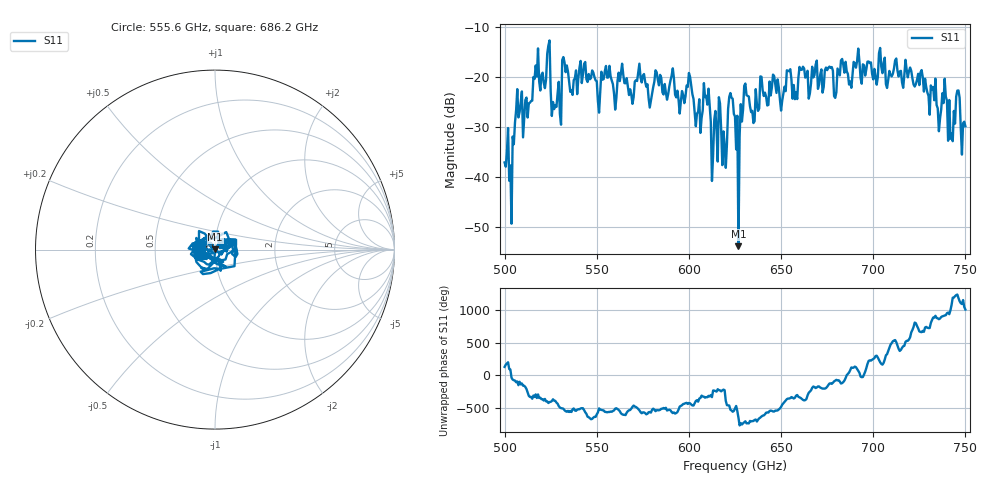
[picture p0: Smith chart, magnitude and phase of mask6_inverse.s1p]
!Created with skrf (http://scikit-rf.org).
# GHz S MA R 50.0
!freq magS11 angS11
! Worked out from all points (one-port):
!   401 points, 500 GHz to 750 GHz, reference 50 ohm
!   lowest |S11| = -53.8 dB at 626.9 GHz (marker M1), VSWR 1.00, Z = 50 + j0.199 ohm
!   |S11| at or under -10 dB: start of sweep to end of sweep
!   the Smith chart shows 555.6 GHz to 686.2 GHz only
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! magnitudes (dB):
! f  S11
! 500 GHz  -37.1
! 503.8 GHz  -49.3
! 506.9 GHz  -22.4
! 513.8 GHz  -25.1
! 516.9 GHz  -17.7
! 523.8 GHz  -13.7
! 526.9 GHz  -26.4
! 531.2 GHz  -16.6
! 562.5 GHz  -20.8
! 593.8 GHz  -22.7
! 600 GHz  -19.2
! 605 GHz  -26.9
! 609.4 GHz  -23.7
! 612.5 GHz  -40.8
! 615.6 GHz  -36.9
! 619.4 GHz  -33.6
! 622.5 GHz  -23.2
! 625 GHz  -27.9
! 626.9 GHz  -53.8
! 631.2 GHz  -23.6
! 634.4 GHz  -26.7
! 640 GHz  -22.6
! 656.2 GHz  -24.3
! 687.5 GHz  -20.9
! 718.8 GHz  -20.0
! 741.9 GHz  -32.3
! 745.6 GHz  -22.7
! 750 GHz  -29.8
